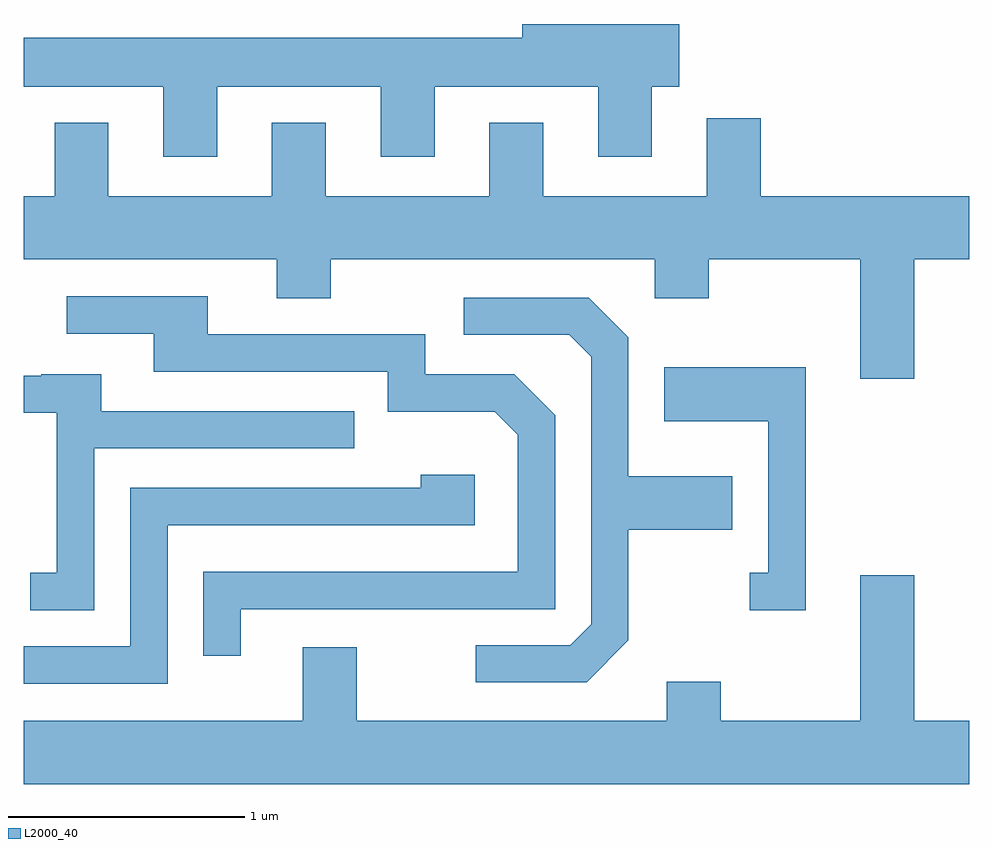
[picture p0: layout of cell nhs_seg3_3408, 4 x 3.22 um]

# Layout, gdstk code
import gdstk
lib = gdstk.Library(unit=1e-6, precision=1e-09)
def P(c, l, *ps):  # polygons
    for p in ps: c.add(gdstk.Polygon(p, *l))
L2000_40 = (2000, 40)

nhs_seg3_3408 = lib.new_cell('nhs_seg3_3408')
P(nhs_seg3_3408, L2000_40, [(286.429,1135.626),(287.121,1135.626),(287.121,1135.331),(287.349,1135.331),(287.349,1135.626),(288.041,1135.626),(288.041,1135.331),(288.269,1135.331),(288.269,1135.626),(288.384,1135.626),(288.384,1135.892),(287.721,1135.892),(287.721,1135.834),(285.611,1135.834),(285.611,1135.626),(286.201,1135.626),(286.201,1135.331),(286.429,1135.331)],
  [(289.379,1134.896),(289.611,1134.896),(289.611,1135.164),(288.729,1135.164),(288.729,1135.494),(288.501,1135.494),(288.501,1135.164),(287.809,1135.164),(287.809,1135.474),(287.581,1135.474),(287.581,1135.164),(286.889,1135.164),(286.889,1135.474),(286.661,1135.474),(286.661,1135.164),(285.969,1135.164),(285.969,1135.474),(285.741,1135.474),(285.741,1135.164),(285.611,1135.164),(285.611,1134.896),(286.681,1134.896),(286.681,1134.731),(286.909,1134.731),(286.909,1134.896),(288.281,1134.896),(288.281,1134.731),(288.509,1134.731),(288.509,1134.896),(289.151,1134.896),(289.151,1134.391),(289.379,1134.391)],
  [(286.529,1133.416),(287.859,1133.416),(287.859,1134.237),(287.687,1134.409),(287.309,1134.409),(287.309,1134.579),(286.389,1134.579),(286.389,1134.739),(285.793,1134.739),(285.793,1134.581),(286.161,1134.581),(286.161,1134.421),(287.151,1134.421),(287.151,1134.251),(287.604,1134.251),(287.701,1134.154),(287.701,1133.574),(286.371,1133.574),(286.371,1133.218),(286.529,1133.218)],
  [(288.169,1133.284),(288.169,1133.751),(288.609,1133.751),(288.609,1133.979),(288.169,1133.979),(288.169,1134.567),(288.002,1134.734),(287.473,1134.734),(287.473,1134.576),(287.919,1134.576),(288.011,1134.484),(288.011,1133.352),(287.924,1133.264),(287.523,1133.264),(287.523,1133.106),(287.992,1133.106)],
  [(288.919,1134.439),(288.321,1134.439),(288.321,1134.211),(288.761,1134.211),(288.761,1133.569),(288.683,1133.569),(288.683,1133.411),(288.919,1133.411)],
  [(285.909,1134.096),(287.008,1134.096),(287.008,1134.254),(285.939,1134.254),(285.939,1134.409),(285.685,1134.409),(285.685,1134.404),(285.611,1134.404),(285.611,1134.246),(285.751,1134.246),(285.751,1133.569),(285.638,1133.569),(285.638,1133.411),(285.909,1133.411)],
  [(286.219,1133.771),(287.519,1133.771),(287.519,1133.984),(287.291,1133.984),(287.291,1133.929),(286.061,1133.929),(286.061,1133.259),(285.611,1133.259),(285.611,1133.101),(286.219,1133.101)],
  [(289.611,1132.944),(289.379,1132.944),(289.379,1133.559),(289.151,1133.559),(289.151,1132.944),(288.559,1132.944),(288.559,1133.109),(288.331,1133.109),(288.331,1132.944),(287.019,1132.944),(287.019,1133.254),(286.791,1133.254),(286.791,1132.944),(285.611,1132.944),(285.611,1132.676),(289.611,1132.676)])

lib.write_gds('nhs_seg3_3408.gds')
